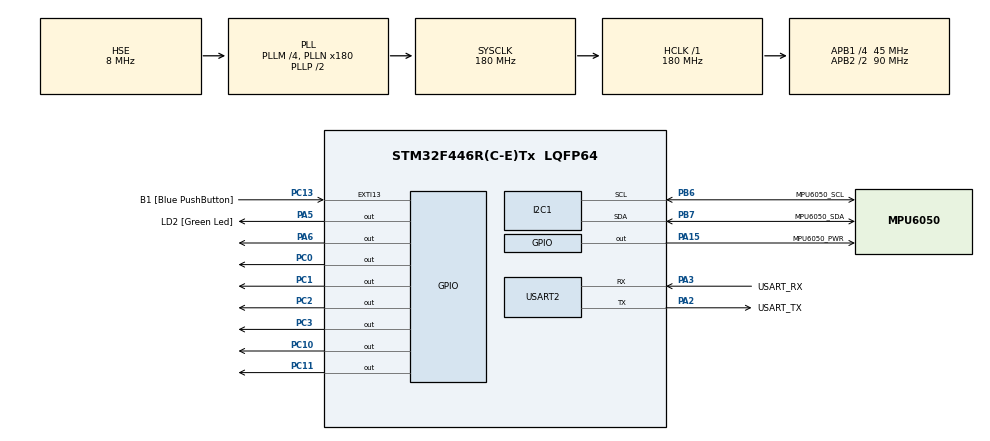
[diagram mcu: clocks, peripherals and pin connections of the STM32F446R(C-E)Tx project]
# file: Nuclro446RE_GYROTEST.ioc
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Dma.I2C1_RX.0.Direction=DMA_PERIPH_TO_MEMORY
Dma.I2C1_RX.0.FIFOMode=DMA_FIFOMODE_DISABLE
Dma.I2C1_RX.0.Instance=DMA1_Stream0
Dma.I2C1_RX.0.MemDataAlignment=DMA_MDATAALIGN_BYTE
Dma.I2C1_RX.0.MemInc=DMA_MINC_ENABLE
Dma.I2C1_RX.0.Mode=DMA_NORMAL
Dma.I2C1_RX.0.PeriphDataAlignment=DMA_PDATAALIGN_BYTE
Dma.I2C1_RX.0.PeriphInc=DMA_PINC_DISABLE
Dma.I2C1_RX.0.Priority=DMA_PRIORITY_HIGH
Dma.I2C1_TX.1.Direction=DMA_MEMORY_TO_PERIPH
Dma.I2C1_TX.1.FIFOMode=DMA_FIFOMODE_DISABLE
Dma.I2C1_TX.1.Instance=DMA1_Stream6
Dma.I2C1_TX.1.MemDataAlignment=DMA_MDATAALIGN_BYTE
Dma.I2C1_TX.1.MemInc=DMA_MINC_ENABLE
Dma.I2C1_TX.1.Mode=DMA_NORMAL
Dma.I2C1_TX.1.PeriphDataAlignment=DMA_PDATAALIGN_BYTE
Dma.I2C1_TX.1.PeriphInc=DMA_PINC_DISABLE
Dma.I2C1_TX.1.Priority=DMA_PRIORITY_HIGH
Dma.Request0=I2C1_RX
Dma.Request1=I2C1_TX
I2C1.I2C_Mode=I2C_Standard
I2C1.OwnAddress=0x0
Mcu.Family=STM32F4
Mcu.Name=STM32F446R(C-E)Tx
Mcu.Package=LQFP64
NVIC.DMA1_Stream0_IRQn=true\:0\:0\:false\:false\:true
NVIC.DMA1_Stream6_IRQn=true\:0\:0\:false\:false\:true
NVIC.PriorityGroup=NVIC_PRIORITYGROUP_0
NVIC.RCC_IRQn=true\:0\:0\:false\:false\:true
NVIC.TIM2_IRQn=true\:0\:0\:false\:false\:true
NVIC.TIM3_IRQn=true\:0\:0\:false\:false\:true
NVIC.USART2_IRQn=true\:0\:0\:false\:false\:true
PA13.GPIO_Label=TMS
PA13.Signal=SYS_JTMS-SWDIO
PA14.GPIO_Label=TCK
PA14.Signal=SYS_JTCK-SWCLK
PA15.GPIO_Label=MPU6050_PWR
PA15.GPIO_Speed=GPIO_SPEED_FREQ_HIGH
PA15.Signal=GPIO_Output
PA2.GPIO_Label=USART_TX
PA2.Mode=Asynchronous
PA2.Signal=USART2_TX
PA3.GPIO_Label=USART_RX
PA3.Mode=Asynchronous
PA3.Signal=USART2_RX
PA5.GPIO_Label=LD2 [Green Led]
PA5.Signal=GPIO_Output
PA6.Signal=GPIO_Output
PB3.GPIO_Label=SWO
PB3.Signal=SYS_JTDO-SWO
PB6.GPIO_Label=MPU6050_SCL
PB6.GPIO_Speed=GPIO_SPEED_FREQ_HIGH
PB6.Mode=I2C
PB6.Signal=I2C1_SCL
PB7.GPIO_Label=MPU6050_SDA
PB7.GPIO_Speed=GPIO_SPEED_FREQ_HIGH
PB7.Mode=I2C
PB7.Signal=I2C1_SDA
PC0.Signal=GPIO_Output
PC1.Signal=GPIO_Output
PC10.Signal=GPIO_Output
PC11.Signal=GPIO_Output
PC13.GPIO_Label=B1 [Blue PushButton]
PC13.GPIO_ModeDefaultEXTI=GPIO_MODE_EVT_RISING
PC13.Signal=GPXTI13
PC14-OSC32_IN.Signal=RCC_OSC32_IN
PC15-OSC32_OUT.Signal=RCC_OSC32_OUT
PC2.Signal=GPIO_Output
PC3.Signal=GPIO_Output
PH0-OSC_IN.Mode=HSE-External-Oscillator
PH0-OSC_IN.Signal=RCC_OSC_IN
PH1-OSC_OUT.Mode=HSE-External-Oscillator
PH1-OSC_OUT.Signal=RCC_OSC_OUT
ProjectManager.HeapSize=0x200
ProjectManager.StackSize=0x400
ProjectManager.TargetToolchain=TrueSTUDIO
RCC.AHBFreq_Value=180000000
RCC.APB1CLKDivider=RCC_HCLK_DIV4
RCC.APB1Freq_Value=45000000
RCC.APB1TimFreq_Value=90000000
RCC.APB2CLKDivider=RCC_HCLK_DIV2
RCC.APB2Freq_Value=90000000
RCC.APB2TimFreq_Value=180000000
RCC.CortexFreq_Value=180000000
RCC.FLatency-AdvancedSettings=FLASH_LATENCY_5
RCC.HCLKFreq_Value=180000000
RCC.HSE_VALUE=8000000
RCC.HSI_VALUE=16000000
RCC.LSE_VALUE=32768
RCC.PLLM=4
RCC.PLLN=180
RCC.PLLSourceVirtual=RCC_PLLSOURCE_HSE
RCC.SYSCLKFreq_VALUE=180000000
RCC.SYSCLKSource=RCC_SYSCLKSOURCE_PLLCLK
RCC.USBFreq_Value=180000000
RCC.VCOOutputFreq_Value=360000000
TIM2.Period=9999
TIM2.Prescaler=9000
TIM3.Period=4999
TIM3.Prescaler=9000
VP_TIM2_VS_ClockSourceINT.Mode=Internal
VP_TIM3_VS_ClockSourceINT.Mode=Internal
board=NUCLEO-F446RE

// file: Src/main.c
/**
  ******************************************************************************
  * File Name          : main.c
  * Description        : Main program body
  ******************************************************************************
  *
  * COPYRIGHT(c) 2017 STMicroelectronics
  *
  * Redistribution and use in source and binary forms, with or without modification,
  * are permitted provided that the following conditions are met:
  *   1. Redistributions of source code must retain the above copyright notice,
  *      this list of conditions and the following disclaimer.
  *   2. Redistributions in binary form must reproduce the above copyright notice,
  *      this list of conditions and the following disclaimer in the documentation
  *      and/or other materials provided with the distribution.
  *   3. Neither the name of STMicroelectronics nor the names of its contributors
  *      may be used to endorse or promote products derived from this software
  *      without specific prior written permission.
  *
  * THIS SOFTWARE IS PROVIDED BY THE COPYRIGHT HOLDERS AND CONTRIBUTORS "AS IS"
  * AND ANY EXPRESS OR IMPLIED WARRANTIES, INCLUDING, BUT NOT LIMITED TO, THE
  * IMPLIED WARRANTIES OF MERCHANTABILITY AND FITNESS FOR A PARTICULAR PURPOSE ARE
  * DISCLAIMED. IN NO EVENT SHALL THE COPYRIGHT HOLDER OR CONTRIBUTORS BE LIABLE
  * FOR ANY DIRECT, INDIRECT, INCIDENTAL, SPECIAL, EXEMPLARY, OR CONSEQUENTIAL
  * DAMAGES (INCLUDING, BUT NOT LIMITED TO, PROCUREMENT OF SUBSTITUTE GOODS OR
  * SERVICES; LOSS OF USE, DATA, OR PROFITS; OR BUSINESS INTERRUPTION) HOWEVER
  * CAUSED AND ON ANY THEORY OF LIABILITY, WHETHER IN CONTRACT, STRICT LIABILITY,
  * OR TORT (INCLUDING NEGLIGENCE OR OTHERWISE) ARISING IN ANY WAY OUT OF THE USE
  * OF THIS SOFTWARE, EVEN IF ADVISED OF THE POSSIBILITY OF SUCH DAMAGE.
  *
  ******************************************************************************
  */
#include "main.h"
#include "stm32f4xx_hal.h"

/* USER CODE BEGIN Includes */
// SYSTICK_Config는 반드시 1000000으로 설정할것~!!!!!
// I2C Clock는 반드시 400KHz로 설정할것.....
#include <stdio.h>
#include <string.h>
#include <math.h>
#include "tlcd.h"
#include "my_mpu6050.h"
/* USER CODE END Includes */

I2C_HandleTypeDef hi2c1;
DMA_HandleTypeDef hdma_i2c1_rx;
DMA_HandleTypeDef hdma_i2c1_tx;

TIM_HandleTypeDef htim2;
TIM_HandleTypeDef htim3;

UART_HandleTypeDef huart2;

/* USER CODE BEGIN PV */
/* Private variables ---------------------------------------------------------*/
uint8_t Rx_Data2;            // uart2 receive data buffer
uint8_t Transfer_cplt2=0;
uint8_t count = 0,n;
char    sprt[50],gyroData[60],bufdata[14]={0,},i2cTxData[2],CaliBuf[7];
uint8_t MpuSetReady = 0,i2cStart=0;
volatile char Ten = 0,calibrate = 0;

/* Initialization of variables for kalman filter */
float alpha = 0.99,FSSEL=131;
float x_next[7], P_next[7], z[7],K[7],nn[7]={0,},nnadd[7]={0,},Caliave[7]={0,};
float P[7]={1,1,1,1,1,1,1};
float Q[7]={0.001,0.001,0.001,0.001,0.001,0.001,0.001};
float R[7]={0.02,0.02,0.02,0.02,0.02,0.02,0.02};
float xfilter_value[7]={0,0,0,0,0,0,0};

// gyro angle 계산용
float temp;
float gyro_x,gyro_y,gyro_z;
float accel_x,accel_y,accel_z;
float angle_x,angle_y,angle_z;
float accel_angle_x,accel_angle_y,accel_angle_z;
float gyro_angle_x,gyro_angle_y,gyro_angle_z;
float last_x_angle=0,last_y_angle=0,last_z_angle=0;
float last_gyro_x_angle=0,last_gyro_y_angle=0,last_gyro_z_angle=0;
float unfiltered_gyro_angle_x,unfiltered_gyro_angle_y,unfiltered_gyro_angle_z;

/* USER CODE END PV */

void SystemClock_Config(void);
void Error_Handler(void);
static void MX_GPIO_Init(void);
static void MX_DMA_Init(void);
static void MX_USART2_UART_Init(void);
static void MX_I2C1_Init(void);
static void MX_TIM2_Init(void);
static void MX_TIM3_Init(void);

/* USER CODE BEGIN PFP */
/* Private function prototypes -----------------------------------------------*/
void HAL_UART_RxCpltCallback(UART_HandleTypeDef *huart);
void HAL_TIM_PeriodElapsedCallback(TIM_HandleTypeDef *htim);
void kalman_filter();

/* USER CODE END PFP */

/* USER CODE BEGIN 0 */
void HAL_UART_RxCpltCallback(UART_HandleTypeDef *huart)
{
	if(huart->Instance==USART2){
		HAL_UART_Transmit(&huart2,(uint8_t *)&Rx_Data2, 1,1000);
		HAL_UART_Receive_IT(&huart2,(uint8_t *)&Rx_Data2, 1);
		HAL_GPIO_TogglePin(LD2_GPIO_Port, LD2_Pin);
	}
/*	if(huart->Instance==UART5){
		HAL_UART_Transmit(&huart2,(uint8_t *)&Rx_Data5, 1,1000);
		HAL_UART_Receive_IT(&huart5,(uint8_t *)&Rx_Data5, 1);
	} */
}

void HAL_TIM_PeriodElapsedCallback(TIM_HandleTypeDef *htim)
{
	int n;
	char tstr[20];

	if(htim->Instance==TIM2) {       // 1 sec interrupt
		HAL_GPIO_TogglePin(LD2_GPIO_Port, LD2_Pin);
	}
	else if(htim->Instance==TIM3) {  // 1/100 sec interrupt
		if(!i2cStart) return;
		i2cTxData[0] = (uint8_t)0x3B;      // 0x3B - GYRO data register start address
		i2cTxData[1] = (uint8_t)0;         // 0
		while(HAL_I2C_Master_Transmit(&hi2c1,(uint16_t)MPU6050,(uint8_t *)&i2cTxData[0],1,1000)!=HAL_OK);  // 0x3B
		while(HAL_I2C_Master_Receive (&hi2c1,(uint16_t)MPU6050,(uint8_t *)bufdata,14,1000)!=HAL_OK);

		for(n=0;n<7;n++)	nn[n] = ((int16_t)(bufdata[n*2]<<8)| bufdata[n*2+1]);
	    memset(bufdata,0x00,14);

		// 10ms에 합번씩 총 10회 읽어서 10으로 나누어 평균으로 구한 뒤 칼만필터로 계산한다.
		// 단, 첫 10회 데이터를 획득하여 평균을 구한다. 시작시 1번만......
		Ten++;
		if(Ten < 10) {
			for(n=0;n<7;n++) nnadd[n] += nn[n];
			return;
		}
		else Ten = 10;

		// 10번 읽어 평균을 구한다. 한번만 실행....
		if(!calibrate) {
			for(n=0;n<7;n++)	Caliave[n] = nnadd[n] / 10.0; // 초기 평균값을 저장한다.
			calibrate = 1;
		}

		/*
		// raw데이터를 평균값에서 빼준다.
		nn[0] -= Caliave[0];  			// accel x
		nn[1] -= Caliave[1];  			// accel y
		nn[2] += (16384-Caliave[2]);  	// accel z
		// nn[3] -= Caliave[3];
		nn[4] -= Caliave[4];//	nn[4] /= 131;		// gyro x , 250/sec이므로 65536/255 = 262/2 = 131
		nn[5] -= Caliave[5];//	nn[5] /= 131;		// gyro y
		nn[6] -= Caliave[6];//	nn[6] /= 131;		// gyro z
		*/

		kalman_filter();
		sprintf(tstr,"%8.2f%8.2f",nn[3],(nn[3]+12412)/340);
		TLCD_Puts(1,0,tstr);
	}
}

// 7개의 값을 칼만필터 적용.........................................................
void kalman_filter()
{
	int ifilter;
	char fstr[100];

	// **********************************
    // Iteration loop .. 칼만 필터 적용..
	// **********************************
    for(ifilter=0;ifilter<7;ifilter++) {
    	x_next[ifilter]=xfilter_value[ifilter];
    	P_next[ifilter]=P[ifilter]+Q[ifilter];
    	K[ifilter]=P_next[ifilter]/(P_next[ifilter]+R[ifilter]);
    	// Original Data : z
    	z[ifilter]=(float)nn[ifilter];
    	// Kalman   filter : xfilter_value
    	xfilter_value[ifilter]=x_next[ifilter]+K[ifilter]*(z[ifilter]-x_next[ifilter]);
    	P[ifilter]=(1-K[ifilter])*P_next[ifilter];
    }

    accel_x = xfilter_value[0];
    accel_y = xfilter_value[1];
    accel_z = xfilter_value[2];
    temp    =  (xfilter_value[3]+12412)/340.0;
    gyro_x = (xfilter_value[4] - Caliave[4]) / FSSEL;
    gyro_y = (xfilter_value[5] - Caliave[5]) / FSSEL;
    gyro_z = (xfilter_value[6] - Caliave[6]) / FSSEL;

    // accelator 값 보정. atan(y/sqrt(pow(x,2)+pow(y,2))
    accel_angle_x = atan(accel_y   /sqrt(pow(accel_x,2)+pow(accel_z,2)))*57.29579;
    accel_angle_y = atan(-1*accel_x/sqrt(pow(accel_y,2)+pow(accel_z,2)))*57.29579;
    accel_angle_z = 0;

    accel_angle_x = (int)(accel_angle_x*10)/10.0;
    accel_angle_y = (int)(accel_angle_y*10)/10.0;

    // gyro angle 계산 1
    gyro_angle_x = (int)((gyro_x*0.01 + last_x_angle)*10) / 10.0;
    gyro_angle_y = (int)((gyro_y*0.01 + last_y_angle)*10) / 10.0;
//    gyro_angle_z = gyro_z*0.01 + last_z_angle;
    gyro_angle_z = (int)((gyro_z*0.01)*10) / 10.0 + last_z_angle;

    // gyro angle 계산 2
    unfiltered_gyro_angle_x = (int)((gyro_x*0.01 + last_gyro_x_angle)*10) / 10.0;
    unfiltered_gyro_angle_y = (int)((gyro_y*0.01 + last_gyro_y_angle)*10) / 10.0;
    unfiltered_gyro_angle_z = (int)((gyro_z*0.01 + last_gyro_z_angle)*10) / 10.0;

    // 최종각도 계산
    angle_x = alpha * gyro_angle_x + (1.0 - alpha) * accel_angle_x;
    angle_y = alpha * gyro_angle_y + (1.0 - alpha) * accel_angle_y;
    angle_z = gyro_angle_z;

    // 마지막 각도 저장...
    last_x_angle = angle_x;
    last_y_angle = angle_y;
    last_z_angle = angle_z;
    last_gyro_x_angle = unfiltered_gyro_angle_x;
    last_gyro_y_angle = unfiltered_gyro_angle_y;
    last_gyro_z_angle = unfiltered_gyro_angle_z;

    sprintf(fstr,"ACC:%7.2f,%7.2f,%7.2f#GYR:%7.2f,%7.2f,%7.2f#FIL:%7.2f,%7.2f,%7.2f\r\n",
    		accel_angle_x,accel_angle_y,accel_angle_z,             	// ACCEL
			unfiltered_gyro_angle_x,unfiltered_gyro_angle_y,unfiltered_gyro_angle_z, // GYRO
			angle_x,angle_y,angle_z*-1		// Filtered
    );

    HAL_UART_Transmit(&huart2,(uint8_t *)fstr, strlen(fstr),1000);
}

/* USER CODE END 0 */

int main(void)
{

  /* MCU Configuration----------------------------------------------------------*/

  /* Reset of all peripherals, Initializes the Flash interface and the Systick. */
  HAL_Init();

  /* Configure the system clock */
  SystemClock_Config();

  /* Initialize all configured peripherals */
  MX_GPIO_Init();
  MX_DMA_Init();
  MX_USART2_UART_Init();
  MX_I2C1_Init();
  MX_TIM2_Init();
  MX_TIM3_Init();

  /* USER CODE BEGIN 2 */
	TLCD_Init(GPIOC,GPIO_PIN_10,GPIO_PIN_11,GPIO_PIN_0,GPIO_PIN_1,GPIO_PIN_2,GPIO_PIN_3);
	TLCD_Puts(1,0,"Wait a moment...");
	TLCD_Puts(2,0,"GYRO Sensor init");

    // START MPU6050 --------------------------------------------------------------------
    // 만약 mpu6050이 연결되어 있지 않으면 무한루프에 빠짐.
    HAL_GPIO_WritePin(GPIOA, MPU6050_PWR_Pin, GPIO_PIN_RESET);    // PA15 pin Off...
    HAL_Delay(2000000);   // wait 0.5 sec for MPU6050 power reset
    HAL_GPIO_WritePin(GPIOA, MPU6050_PWR_Pin, GPIO_PIN_SET);    // PA15 pin On...
    HAL_Delay(500000);   // 리셋 후 기동시까지 0.5초 기다림.

  	i2cTxData[0] = (uint8_t)RA_PWR_ADDR;      // 0x6B ; power on
    i2cTxData[1] = (uint8_t) RA_PWR_MGMT_1;    // 0
  	while(HAL_I2C_Master_Transmit(&hi2c1,(uint16_t)MPU6050,(uint8_t *)i2cTxData,2,1000)!=HAL_OK);
  	HAL_Delay(100000);    // wait 0.1 sec for MPU6050 START

  	i2cTxData[0] = (uint8_t)RA_USER_CTRL;     // 0x6A ;
    i2cTxData[1] = (uint8_t)USER_CTRL;        // 0
    while(HAL_I2C_Master_Transmit(&hi2c1,(uint16_t)MPU6050,(uint8_t *)i2cTxData,2,1000)!=HAL_OK);

  	i2cTxData[0] = (uint8_t)RA_INT_PIN_CFG;   // 0x37 ;
    i2cTxData[1] = (uint8_t)PIN_CFG;          // 0
    while(HAL_I2C_Master_Transmit(&hi2c1,(uint16_t)MPU6050,(uint8_t *)i2cTxData,2,1000)!=HAL_OK);

  	i2cTxData[0] = (uint8_t)0x24;
    i2cTxData[1] = (uint8_t)20;
    while(HAL_I2C_Master_Transmit(&hi2c1,(uint16_t)MPU6050,(uint8_t *)i2cTxData,2,1000)!=HAL_OK);

  	i2cTxData[0] = (uint8_t)RA_SMPLRT_DIV;    // 0x19 ;
    i2cTxData[1] = (uint8_t)SMPLRT_DIV;       // 19
    while(HAL_I2C_Master_Transmit(&hi2c1,(uint16_t)MPU6050,(uint8_t *)i2cTxData,2,1000)!=HAL_OK);

  	i2cTxData[0] = (uint8_t)RA_GYRO_CONFIG;   // 0x1B ;
    i2cTxData[1] = (uint8_t)USER_CTRL;        // 0
    while(HAL_I2C_Master_Transmit(&hi2c1,(uint16_t)MPU6050,(uint8_t *)i2cTxData,2,1000)!=HAL_OK);

  	i2cTxData[0] = (uint8_t)RA_ACCEL_CONFIG;  // 0x1C ;
    i2cTxData[1] = (uint8_t)USER_CTRL;        // 0
    while(HAL_I2C_Master_Transmit(&hi2c1,(uint16_t)MPU6050,(uint8_t *)i2cTxData,2,1000)!=HAL_OK);

  	i2cTxData[0] = (uint8_t)RA_CONFIG;        // 0x1A ;
  	i2cTxData[1] = (uint8_t)0;                // 0
  	while(HAL_I2C_Master_Transmit(&hi2c1,(uint16_t)MPU6050,(uint8_t *)i2cTxData,2,1000)!=HAL_OK);

  	// END   MPU6050 --------------------------------------------------------------------

  	i2cTxData[0] = (uint8_t)RA_WHO_AM_I;      // 0x75 ; who am i
    i2cTxData[1] = (uint8_t)1;                // 0
  	while(HAL_I2C_Master_Transmit(&hi2c1,(uint16_t)MPU6050,(uint8_t *)&i2cTxData[0],1,1000)!=HAL_OK);
  	while(HAL_I2C_Master_Receive (&hi2c1,(uint16_t)MPU6050,(uint8_t *)whoAmI,2,1000)!=HAL_OK);

  	while(HAL_UART_Receive_IT(&huart2, (uint8_t *)&Rx_Data2, 1)!=HAL_OK);
	while(HAL_TIM_Base_Start_IT(&htim2)!=HAL_OK);
	while(HAL_TIM_Base_Start_IT(&htim3)!=HAL_OK);

	// LCD사용을 위해 GPIOC를 사용. RS,E, D4,D5,D6,D7
//	TLCD_Init(GPIOC,GPIO_PIN_10,GPIO_PIN_11,GPIO_PIN_0,GPIO_PIN_1,GPIO_PIN_2,GPIO_PIN_3);
    HAL_Delay(500000);  // 0.5 sec
	TLCD_Puts(1,0,"                ");
	TLCD_Puts(2,0,"                ");
    sprintf(sprt," I2C IDn : %3x ",whoAmI[0]);
    TLCD_Puts(2,1,sprt);
    MpuSetReady = 1;

  /* USER CODE END 2 */

  /* Infinite loop */
  /* USER CODE BEGIN WHILE */

	i2cStart = 1;
	while (1)
	{
  /* USER CODE END WHILE */

	}

}

/** System Clock Configuration
*/
void SystemClock_Config(void)
{

  RCC_OscInitTypeDef RCC_OscInitStruct;
  RCC_ClkInitTypeDef RCC_ClkInitStruct;

    /**Configure the main internal regulator output voltage
    */
  __HAL_RCC_PWR_CLK_ENABLE();

  __HAL_PWR_VOLTAGESCALING_CONFIG(PWR_REGULATOR_VOLTAGE_SCALE1);

    /**Initializes the CPU, AHB and APB busses clocks
    */
  RCC_OscInitStruct.OscillatorType = RCC_OSCILLATORTYPE_HSE;
  RCC_OscInitStruct.HSEState = RCC_HSE_ON;
  RCC_OscInitStruct.PLL.PLLState = RCC_PLL_ON;
  RCC_OscInitStruct.PLL.PLLSource = RCC_PLLSOURCE_HSE;
  RCC_OscInitStruct.PLL.PLLM = 4;
  RCC_OscInitStruct.PLL.PLLN = 180;
  RCC_OscInitStruct.PLL.PLLP = RCC_PLLP_DIV2;
  RCC_OscInitStruct.PLL.PLLQ = 2;
  RCC_OscInitStruct.PLL.PLLR = 2;
  if (HAL_RCC_OscConfig(&RCC_OscInitStruct) != HAL_OK)
  {
    Error_Handler();
  }

    /**Activate the Over-Drive mode
    */
  if (HAL_PWREx_EnableOverDrive() != HAL_OK)
  {
    Error_Handler();
  }

    /**Initializes the CPU, AHB and APB busses clocks
    */
  RCC_ClkInitStruct.ClockType = RCC_CLOCKTYPE_HCLK|RCC_CLOCKTYPE_SYSCLK
                              |RCC_CLOCKTYPE_PCLK1|RCC_CLOCKTYPE_PCLK2;
  RCC_ClkInitStruct.SYSCLKSource = RCC_SYSCLKSOURCE_PLLCLK;
  RCC_ClkInitStruct.AHBCLKDivider = RCC_SYSCLK_DIV1;
  RCC_ClkInitStruct.APB1CLKDivider = RCC_HCLK_DIV4;
  RCC_ClkInitStruct.APB2CLKDivider = RCC_HCLK_DIV2;

  if (HAL_RCC_ClockConfig(&RCC_ClkInitStruct, FLASH_LATENCY_5) != HAL_OK)
  {
    Error_Handler();
  }

    /**Configure the Systick interrupt time
    */
  HAL_SYSTICK_Config(HAL_RCC_GetHCLKFreq()/1000);

    /**Configure the Systick
    */
  HAL_SYSTICK_CLKSourceConfig(SYSTICK_CLKSOURCE_HCLK);

  /* SysTick_IRQn interrupt configuration */
  HAL_NVIC_SetPriority(SysTick_IRQn, 0, 0);
}

/* I2C1 init function */
static void MX_I2C1_Init(void)
{

  hi2c1.Instance = I2C1;
  hi2c1.Init.ClockSpeed = 100000;
  hi2c1.Init.DutyCycle = I2C_DUTYCYCLE_2;
  hi2c1.Init.OwnAddress1 = 0;
  hi2c1.Init.AddressingMode = I2C_ADDRESSINGMODE_7BIT;
  hi2c1.Init.DualAddressMode = I2C_DUALADDRESS_DISABLE;
  hi2c1.Init.OwnAddress2 = 0;
  hi2c1.Init.GeneralCallMode = I2C_GENERALCALL_DISABLE;
  hi2c1.Init.NoStretchMode = I2C_NOSTRETCH_DISABLE;
  if (HAL_I2C_Init(&hi2c1) != HAL_OK)
  {
    Error_Handler();
  }

}

/* TIM2 init function */
static void MX_TIM2_Init(void)
{

  TIM_ClockConfigTypeDef sClockSourceConfig;
  TIM_MasterConfigTypeDef sMasterConfig;

  htim2.Instance = TIM2;
  htim2.Init.Prescaler = 9000;
  htim2.Init.CounterMode = TIM_COUNTERMODE_UP;
  htim2.Init.Period = 9999;
  htim2.Init.ClockDivision = TIM_CLOCKDIVISION_DIV1;
  if (HAL_TIM_Base_Init(&htim2) != HAL_OK)
  {
    Error_Handler();
  }

  sClockSourceConfig.ClockSource = TIM_CLOCKSOURCE_INTERNAL;
  if (HAL_TIM_ConfigClockSource(&htim2, &sClockSourceConfig) != HAL_OK)
  {
    Error_Handler();
  }

  sMasterConfig.MasterOutputTrigger = TIM_TRGO_RESET;
  sMasterConfig.MasterSlaveMode = TIM_MASTERSLAVEMODE_DISABLE;
  if (HAL_TIMEx_MasterConfigSynchronization(&htim2, &sMasterConfig) != HAL_OK)
  {
    Error_Handler();
  }

}

/* TIM3 init function */
static void MX_TIM3_Init(void)
{

  TIM_ClockConfigTypeDef sClockSourceConfig;
  TIM_MasterConfigTypeDef sMasterConfig;

  htim3.Instance = TIM3;
  htim3.Init.Prescaler = 9000;
  htim3.Init.CounterMode = TIM_COUNTERMODE_UP;
  htim3.Init.Period = 4999;
  htim3.Init.ClockDivision = TIM_CLOCKDIVISION_DIV1;
  if (HAL_TIM_Base_Init(&htim3) != HAL_OK)
  {
    Error_Handler();
  }

  sClockSourceConfig.ClockSource = TIM_CLOCKSOURCE_INTERNAL;
  if (HAL_TIM_ConfigClockSource(&htim3, &sClockSourceConfig) != HAL_OK)
  {
    Error_Handler();
  }

  sMasterConfig.MasterOutputTrigger = TIM_TRGO_RESET;
  sMasterConfig.MasterSlaveMode = TIM_MASTERSLAVEMODE_DISABLE;
  if (HAL_TIMEx_MasterConfigSynchronization(&htim3, &sMasterConfig) != HAL_OK)
  {
    Error_Handler();
  }

}

/* USART2 init function */
static void MX_USART2_UART_Init(void)
{

  huart2.Instance = USART2;
  huart2.Init.BaudRate = 115200;
  huart2.Init.WordLength = UART_WORDLENGTH_8B;
  huart2.Init.StopBits = UART_STOPBITS_1;
  huart2.Init.Parity = UART_PARITY_NONE;
  huart2.Init.Mode = UART_MODE_TX_RX;
  huart2.Init.HwFlowCtl = UART_HWCONTROL_NONE;
  huart2.Init.OverSampling = UART_OVERSAMPLING_16;
  if (HAL_UART_Init(&huart2) != HAL_OK)
  {
    Error_Handler();
  }

}

static void MX_DMA_Init(void)
{
  /* DMA controller clock enable */
  __HAL_RCC_DMA1_CLK_ENABLE();

  /* DMA interrupt init */
  /* DMA1_Stream0_IRQn interrupt configuration */
  HAL_NVIC_SetPriority(DMA1_Stream0_IRQn, 0, 0);
  HAL_NVIC_EnableIRQ(DMA1_Stream0_IRQn);
  /* DMA1_Stream6_IRQn interrupt configuration */
  HAL_NVIC_SetPriority(DMA1_Stream6_IRQn, 0, 0);
  HAL_NVIC_EnableIRQ(DMA1_Stream6_IRQn);

}

/** Configure pins as
        * Analog
        * Input
        * Output
        * EVENT_OUT
        * EXTI
*/
static void MX_GPIO_Init(void)
{

  GPIO_InitTypeDef GPIO_InitStruct;

  /* GPIO Ports Clock Enable */
  __HAL_RCC_GPIOC_CLK_ENABLE();
  __HAL_RCC_GPIOH_CLK_ENABLE();
  __HAL_RCC_GPIOA_CLK_ENABLE();
  __HAL_RCC_GPIOB_CLK_ENABLE();

  /*Configure GPIO pin Output Level */
  HAL_GPIO_WritePin(GPIOC, GPIO_PIN_0|GPIO_PIN_1|GPIO_PIN_2|GPIO_PIN_3
                          |GPIO_PIN_10|GPIO_PIN_11, GPIO_PIN_RESET);

  /*Configure GPIO pin Output Level */
  HAL_GPIO_WritePin(GPIOA, LD2_Pin|GPIO_PIN_6|MPU6050_PWR_Pin, GPIO_PIN_RESET);

  /*Configure GPIO pin : B1_Pin */
  GPIO_InitStruct.Pin = B1_Pin;
  GPIO_InitStruct.Mode = GPIO_MODE_EVT_RISING;
  GPIO_InitStruct.Pull = GPIO_NOPULL;
  HAL_GPIO_Init(B1_GPIO_Port, &GPIO_InitStruct);

  /*Configure GPIO pins : PC0 PC1 PC2 PC3
                           PC10 PC11 */
  GPIO_InitStruct.Pin = GPIO_PIN_0|GPIO_PIN_1|GPIO_PIN_2|GPIO_PIN_3
                          |GPIO_PIN_10|GPIO_PIN_11;
  GPIO_InitStruct.Mode = GPIO_MODE_OUTPUT_PP;
  GPIO_InitStruct.Pull = GPIO_NOPULL;
  GPIO_InitStruct.Speed = GPIO_SPEED_FREQ_LOW;
  HAL_GPIO_Init(GPIOC, &GPIO_InitStruct);

  /*Configure GPIO pins : LD2_Pin PA6 */
  GPIO_InitStruct.Pin = LD2_Pin|GPIO_PIN_6;
  GPIO_InitStruct.Mode = GPIO_MODE_OUTPUT_PP;
  GPIO_InitStruct.Pull = GPIO_NOPULL;
  GPIO_InitStruct.Speed = GPIO_SPEED_FREQ_LOW;
  HAL_GPIO_Init(GPIOA, &GPIO_InitStruct);

  /*Configure GPIO pin : MPU6050_PWR_Pin */
  GPIO_InitStruct.Pin = MPU6050_PWR_Pin;
  GPIO_InitStruct.Mode = GPIO_MODE_OUTPUT_PP;
  GPIO_InitStruct.Pull = GPIO_NOPULL;
  GPIO_InitStruct.Speed = GPIO_SPEED_FREQ_HIGH;
  HAL_GPIO_Init(MPU6050_PWR_GPIO_Port, &GPIO_InitStruct);

}

void Error_Handler(void)
{
  while(1)
  {
  }
}

/************************ (C) COPYRIGHT STMicroelectronics *****END OF FILE****/
